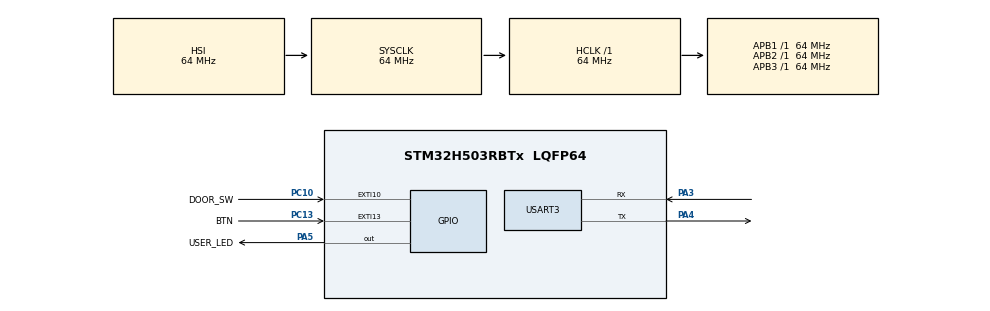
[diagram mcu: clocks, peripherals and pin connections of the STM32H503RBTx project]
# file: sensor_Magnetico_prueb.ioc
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BOOTPATH.BootPathName=LEGACY
BOOTPATH.UserSelectedBootPath=LEGACY
Mcu.Family=STM32H5
Mcu.Name=STM32H503RBTx
Mcu.Package=LQFP64
NVIC.EXTI10_IRQn=true\:0\:0\:false\:false\:true\:true\:true\:true
NVIC.EXTI13_IRQn=true\:1\:0\:true\:false\:true\:true\:true\:true
NVIC.PriorityGroup=NVIC_PRIORITYGROUP_4
PA13(JTMS/SWDIO).Mode=Serial_Wire
PA13(JTMS/SWDIO).Signal=DEBUG_JTMS-SWDIO
PA14(JTCK/SWCLK).Mode=Serial_Wire
PA14(JTCK/SWCLK).Signal=DEBUG_JTCK-SWCLK
PA3.GPIO_Speed=GPIO_SPEED_FREQ_HIGH
PA3.Mode=Asynchronous
PA3.Signal=USART3_RX
PA4.GPIO_Speed=GPIO_SPEED_FREQ_HIGH
PA4.Mode=Asynchronous
PA4.Signal=USART3_TX
PA5.GPIO_Label=USER_LED
PA5.GPIO_Speed=GPIO_SPEED_FREQ_HIGH
PA5.Signal=GPIO_Output
PC10.GPIO_Label=DOOR_SW
PC10.GPIO_ModeDefaultEXTI=GPIO_MODE_IT_RISING_FALLING
PC10.GPIO_PuPd=GPIO_PULLUP
PC10.Signal=GPXTI10
PC13.GPIO_Label=BTN
PC13.GPIO_ModeDefaultEXTI=GPIO_MODE_IT_RISING
PC13.Signal=GPXTI13
ProjectManager.HeapSize=0x200
ProjectManager.StackSize=0x400
ProjectManager.TargetToolchain=STM32CubeIDE
RCC.ADCFreq_Value=64000000
RCC.AHBFreq_Value=64000000
RCC.APB1Freq_Value=64000000
RCC.APB1TimFreq_Value=64000000
RCC.APB2Freq_Value=64000000
RCC.APB2TimFreq_Value=64000000
RCC.APB3Freq_Value=64000000
RCC.CSI_VALUE=4000000
RCC.CortexFreq_Value=64000000
RCC.EPOD_VALUE=4000000
RCC.HCLKFreq_Value=64000000
RCC.HSE_VALUE=24000000
RCC.HSI48_VALUE=48000000
RCC.HSIDiv=RCC_HSI_DIV1
RCC.HSI_VALUE=64000000
RCC.LSE_VALUE=32768
RCC.LSIRC_VALUE=32000
RCC.PLL1_VCO_SEL=RCC_PLL1VCOWIDE
RCC.PLL2_VCO_SEL=RCC_PLL2VCOWIDE
RCC.PLL3FRACN=0
RCC.PLL3_VCI_Range=RCC_PLL3VCIRANGE_3
RCC.PLL3_VCO_SEL=RCC_PLL3VCOWIDE
RCC.PLLN=32
RCC.ProductRev=revV
RCC.SYSCLKFreq_VALUE=64000000
RCC.USBFreq_Value=48000000
RCC.VCOOutputFreq_Value=128000000
USART3.VirtualMode-Asynchronous=VM_ASYNC
VP_BOOTPATH_VS_BOOTPATH.Mode=BP_Activate
VP_CORTEX_M33_NS_VS_Hclk.Mode=Hclk_Mode
VP_ICACHE_VS_ICACHE.Mode=DirectMappedCache
VP_MEMORYMAP_VS_MEMORYMAP.Mode=CurAppReg
VP_PWR_VS_DBSignals.Mode=DisableDeadBatterySignals
VP_PWR_VS_LPOM.Mode=PowerOptimisation
VP_PWR_VS_SECSignals.Mode=Security/Privilege
board=NUCLEO-H503RB

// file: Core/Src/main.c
/* USER CODE BEGIN Header */
/**
  ******************************************************************************
  * @file           : main.c
  * @brief          : Main program body
  ******************************************************************************
  * @attention
  *
  * Proyecto: Sensor magnético MC-38 + NUCLEO-H503RB
  *
  ******************************************************************************
  */
/* USER CODE END Header */
#include "main.h"

/* USER CODE BEGIN Includes */
#include <stdio.h>
#include <string.h>
/* USER CODE END Includes */

UART_HandleTypeDef huart3;

/* USER CODE BEGIN PV */
char uart_buf[64];
GPIO_PinState door_state = GPIO_PIN_RESET;
GPIO_PinState last_state  = GPIO_PIN_RESET;
volatile uint8_t door_event = 0;
/* USER CODE END PV */

void SystemClock_Config(void);
static void MX_GPIO_Init(void);
static void MX_USART3_UART_Init(void);
static void MX_ICACHE_Init(void);
/* USER CODE BEGIN PFP */
void UART_SendString(const char *s);
/* USER CODE END PFP */

/* USER CODE BEGIN 0 */
void UART_SendString(const char *s)
{
  HAL_UART_Transmit(&huart3, (uint8_t*)s, strlen(s), HAL_MAX_DELAY);
}

/**
  * @brief Callback de interrupción EXTI
  * @param GPIO_Pin: pin que disparó la interrupción
  */

void HAL_GPIO_EXTI_Callback(uint16_t GPIO_Pin)
{
  // Lo dejamos vacío, toda la lógica la haremos en el while(1)
}

/* USER CODE END 0 */

int main(void)
{

  /* MCU Configuration--------------------------------------------------------*/

  /* Reset of all peripherals, Initializes the Flash interface and the Systick. */
  HAL_Init();

  /* Configure the system clock */
  SystemClock_Config();

  /* Initialize all configured peripherals */
  MX_GPIO_Init();
  MX_USART3_UART_Init();
  MX_ICACHE_Init();
  /* USER CODE BEGIN 2 */

  UART_SendString("Demo STM32H503 + Sensor MC-38\r\n");
  UART_SendString("USART3 OK a 115200 bps\r\n");

  // Estado inicial de la puerta (PC10 con pull-up interno)
  last_state = HAL_GPIO_ReadPin(DOOR_SW_GPIO_Port, DOOR_SW_Pin);

  if (last_state == GPIO_PIN_RESET)
  {
    UART_SendString("Inicio: Puerta CERRADA\r\n");
    HAL_GPIO_WritePin(USER_LED_GPIO_Port, USER_LED_Pin, GPIO_PIN_SET);
  }
  else
  {
    UART_SendString("Inicio: Puerta ABIERTA\r\n");
    HAL_GPIO_WritePin(USER_LED_GPIO_Port, USER_LED_Pin, GPIO_PIN_RESET);
  }

  /* USER CODE END 2 */

  /* Infinite loop */
  /* USER CODE BEGIN WHILE */
  while (1)
  {
      // Si la EXTI marcó un cambio en la puerta
      if (door_event)
      {
          door_event = 0; // limpiar bandera

          // Leer estado actual del sensor
          door_state = HAL_GPIO_ReadPin(DOOR_SW_GPIO_Port, DOOR_SW_Pin);

          // Solo si cambió respecto al último estado conocido
          if (door_state != last_state)
          {
              last_state = door_state;

              if (door_state == GPIO_PIN_RESET)
              {
                  UART_SendString("Puerta CERRADA\r\n");
                  HAL_GPIO_WritePin(USER_LED_GPIO_Port, USER_LED_Pin, GPIO_PIN_SET);
              }
              else
              {
                  UART_SendString("Puerta ABIERTA\r\n");
                  HAL_GPIO_WritePin(USER_LED_GPIO_Port, USER_LED_Pin, GPIO_PIN_RESET);
              }
          }
      }
  }
  /* USER CODE END 3 */

}

void SystemClock_Config(void)
{
  RCC_OscInitTypeDef RCC_OscInitStruct = {0};
  RCC_ClkInitTypeDef RCC_ClkInitStruct = {0};

  /** Configure the main internal regulator output voltage
  */
  __HAL_PWR_VOLTAGESCALING_CONFIG(PWR_REGULATOR_VOLTAGE_SCALE3);

  while(!__HAL_PWR_GET_FLAG(PWR_FLAG_VOSRDY)) {}

  /** Initializes the RCC Oscillators according to the specified parameters
  * in the RCC_OscInitTypeDef structure.
  */
  RCC_OscInitStruct.OscillatorType = RCC_OSCILLATORTYPE_HSI;
  RCC_OscInitStruct.HSIState = RCC_HSI_ON;
  RCC_OscInitStruct.HSIDiv = RCC_HSI_DIV1;
  RCC_OscInitStruct.HSICalibrationValue = RCC_HSICALIBRATION_DEFAULT;
  RCC_OscInitStruct.PLL.PLLState = RCC_PLL_NONE;
  if (HAL_RCC_OscConfig(&RCC_OscInitStruct) != HAL_OK)
  {
    Error_Handler();
  }

  /** Initializes the CPU, AHB and APB buses clocks
  */
  RCC_ClkInitStruct.ClockType = RCC_CLOCKTYPE_HCLK|RCC_CLOCKTYPE_SYSCLK
                              |RCC_CLOCKTYPE_PCLK1|RCC_CLOCKTYPE_PCLK2
                              |RCC_CLOCKTYPE_PCLK3;
  RCC_ClkInitStruct.SYSCLKSource = RCC_SYSCLKSOURCE_HSI;
  RCC_ClkInitStruct.AHBCLKDivider = RCC_SYSCLK_DIV1;
  RCC_ClkInitStruct.APB1CLKDivider = RCC_HCLK_DIV1;
  RCC_ClkInitStruct.APB2CLKDivider = RCC_HCLK_DIV1;
  RCC_ClkInitStruct.APB3CLKDivider = RCC_HCLK_DIV1;

  if (HAL_RCC_ClockConfig(&RCC_ClkInitStruct, FLASH_LATENCY_3) != HAL_OK)
  {
    Error_Handler();
  }

  /** Configure the programming delay
  */
  __HAL_FLASH_SET_PROGRAM_DELAY(FLASH_PROGRAMMING_DELAY_1);
}

static void MX_ICACHE_Init(void)
{

  /** Enable instruction cache in 1-way (direct mapped cache)
  */
  if (HAL_ICACHE_ConfigAssociativityMode(ICACHE_1WAY) != HAL_OK)
  {
    Error_Handler();
  }
  if (HAL_ICACHE_Enable() != HAL_OK)
  {
    Error_Handler();
  }

}

static void MX_USART3_UART_Init(void)
{

  huart3.Instance = USART3;
  huart3.Init.BaudRate = 115200;
  huart3.Init.WordLength = UART_WORDLENGTH_8B;
  huart3.Init.StopBits = UART_STOPBITS_1;
  huart3.Init.Parity = UART_PARITY_NONE;
  huart3.Init.Mode = UART_MODE_TX_RX;
  huart3.Init.HwFlowCtl = UART_HWCONTROL_NONE;
  huart3.Init.OverSampling = UART_OVERSAMPLING_16;
  huart3.Init.OneBitSampling = UART_ONE_BIT_SAMPLE_DISABLE;
  huart3.Init.ClockPrescaler = UART_PRESCALER_DIV1;
  huart3.AdvancedInit.AdvFeatureInit = UART_ADVFEATURE_NO_INIT;
  if (HAL_UART_Init(&huart3) != HAL_OK)
  {
    Error_Handler();
  }
  if (HAL_UARTEx_SetTxFifoThreshold(&huart3, UART_TXFIFO_THRESHOLD_1_8) != HAL_OK)
  {
    Error_Handler();
  }
  if (HAL_UARTEx_SetRxFifoThreshold(&huart3, UART_RXFIFO_THRESHOLD_1_8) != HAL_OK)
  {
    Error_Handler();
  }
  if (HAL_UARTEx_DisableFifoMode(&huart3) != HAL_OK)
  {
    Error_Handler();
  }

}

static void MX_GPIO_Init(void)
{
  GPIO_InitTypeDef GPIO_InitStruct = {0};

  __HAL_RCC_GPIOC_CLK_ENABLE();
  __HAL_RCC_GPIOA_CLK_ENABLE();

  /* LED usuario */
  HAL_GPIO_WritePin(USER_LED_GPIO_Port, USER_LED_Pin, GPIO_PIN_RESET);

  /* Botón usuario: ya lo tienes como interrupción */
  GPIO_InitStruct.Pin  = BTN_Pin;
  GPIO_InitStruct.Mode = GPIO_MODE_IT_RISING;
  GPIO_InitStruct.Pull = GPIO_NOPULL;
  HAL_GPIO_Init(BTN_GPIO_Port, &GPIO_InitStruct);

  /* LED usuario */
  GPIO_InitStruct.Pin   = USER_LED_Pin;
  GPIO_InitStruct.Mode  = GPIO_MODE_OUTPUT_PP;
  GPIO_InitStruct.Pull  = GPIO_NOPULL;
  GPIO_InitStruct.Speed = GPIO_SPEED_FREQ_HIGH;
  HAL_GPIO_Init(USER_LED_GPIO_Port, &GPIO_InitStruct);

  /* Pin del sensor DOOR_SW (PC10 como EXTI con pull-up) */
  GPIO_InitStruct.Pin  = DOOR_SW_Pin;
  GPIO_InitStruct.Mode = GPIO_MODE_IT_RISING_FALLING; // o solo FALLING si quieres
  GPIO_InitStruct.Pull = GPIO_PULLUP;
  HAL_GPIO_Init(DOOR_SW_GPIO_Port, &GPIO_InitStruct);

  /* NVIC para las interrupciones EXTI */

  HAL_NVIC_SetPriority(EXTI10_IRQn, 0, 0);
  HAL_NVIC_EnableIRQ(EXTI10_IRQn);

  HAL_NVIC_SetPriority(EXTI13_IRQn, 1, 0);
  HAL_NVIC_EnableIRQ(EXTI13_IRQn);
}

void Error_Handler(void)
{
  __disable_irq();
  while (1)
  {
  }
}
